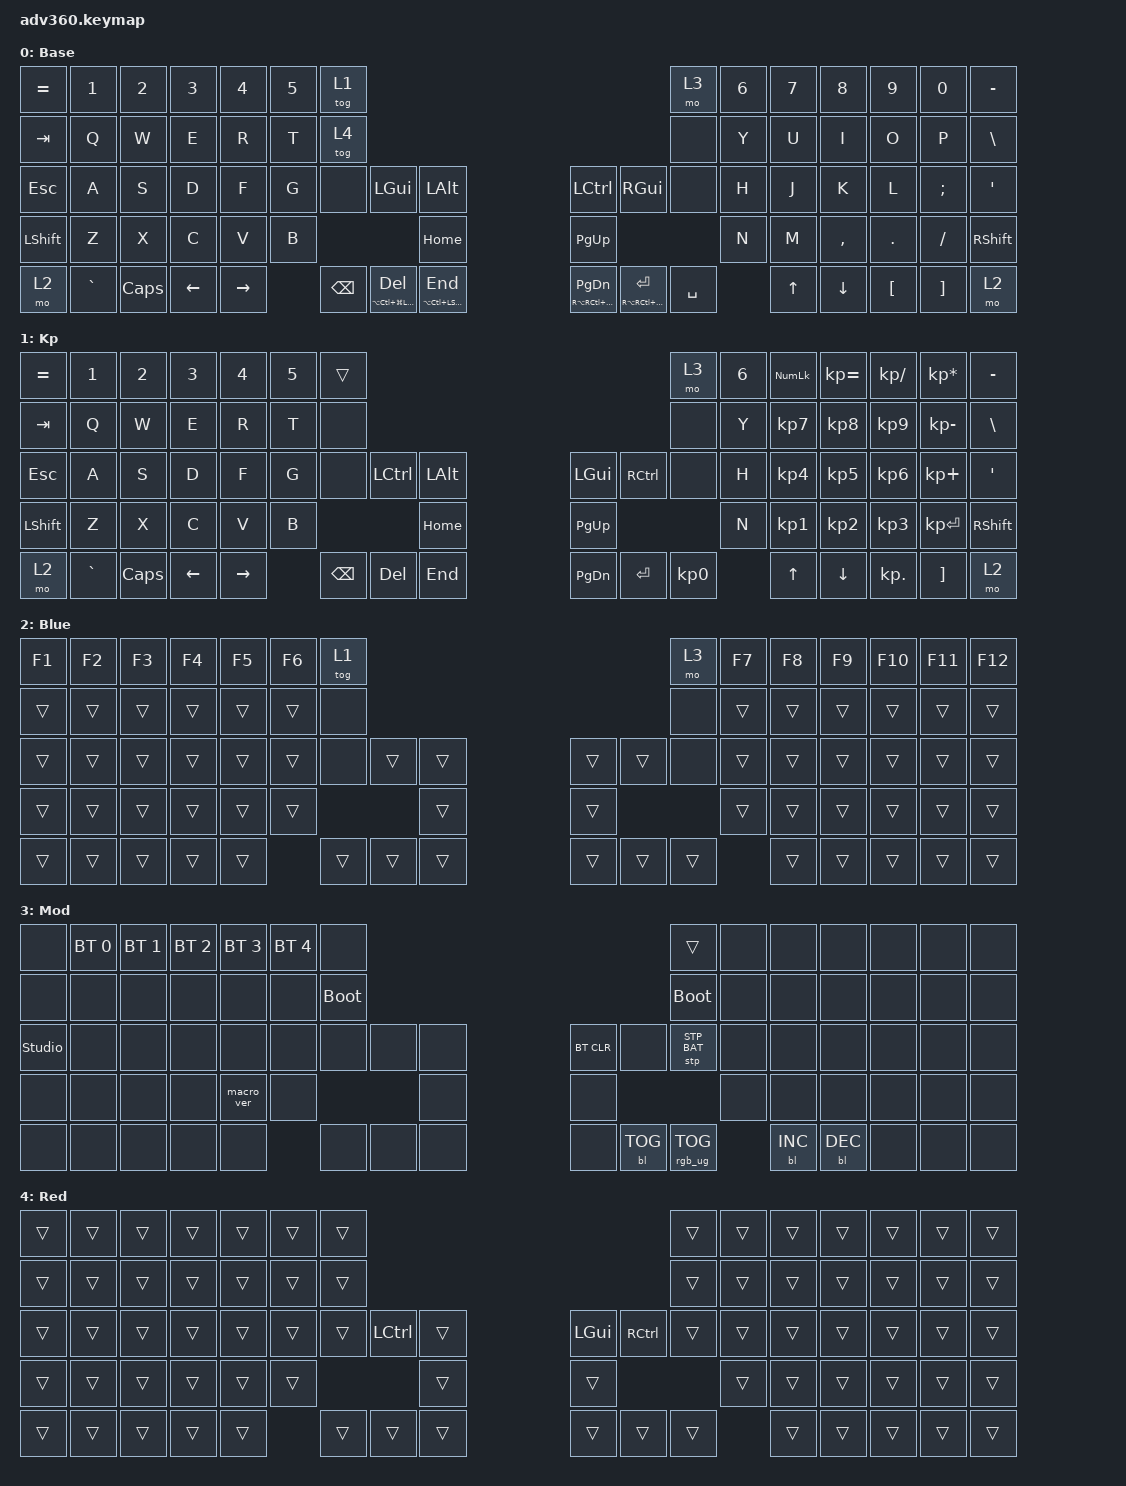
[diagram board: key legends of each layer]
#include <dt-bindings/zmk/stp.h>
#include <behaviors.dtsi>
#include <dt-bindings/zmk/backlight.h>
#include <dt-bindings/zmk/bt.h>
#include <dt-bindings/zmk/keys.h>
#include <dt-bindings/zmk/rgb.h>

/ {
    behaviors {
        #include "macros.dtsi"
      #include "version.dtsi"

        mtb: mtb {
            compatible = "zmk,behavior-hold-tap";
            label = "Mod Tab Balanced";
            bindings = <&kp>, <&kp>;

            #binding-cells = <2>;
            tapping-term-ms = <200>;
            flavor = "balanced";
        };
    };

    keymap {
        compatible = "zmk,keymap";

        Mac {
            display-name = "Base";
            bindings = <
&kp EQUAL  &kp N1     &kp N2    &kp N3    &kp N4     &kp N5  &tog 1                                                                                                                                               &mo 3      &kp N6  &kp N7  &kp N8     &kp N9    &kp N0    &kp MINUS
&kp TAB    &kp Q      &kp W     &kp E     &kp R      &kp T   &tog 4                                                                                                                                               &none      &kp Y   &kp U   &kp I      &kp O     &kp P     &kp BSLH
&kp ESC    &kp A      &kp S     &kp D     &kp F      &kp G   &none          &kp LGUI                         &kp LALT                         &kp LCTRL                       &kp RGUI                            &none      &kp H   &kp J   &kp K      &kp L     &kp SEMI  &kp SQT
&kp LSHFT  &kp Z      &kp X     &kp C     &kp V      &kp B                                                   &kp HOME                         &kp PG_UP                                                                      &kp N   &kp M   &kp COMMA  &kp DOT   &kp FSLH  &kp RSHFT
&mo 2      &kp GRAVE  &kp CAPS  &kp LEFT  &kp RIGHT          &kp BACKSPACE  &mtb LA(LC(LG(LEFT_SHIFT))) DEL  &mtb LA(LC(LEFT_SHIFT)) END      &mtb RA(RC(RIGHT_SHIFT)) PG_DN  &mtb RA(RC(RG(RIGHT_SHIFT))) ENTER  &kp SPACE          &kp UP  &kp DOWN   &kp LBKT  &kp RBKT  &mo 2
            >;
        };

        keypad {
            display-name = "Kp";
            bindings = <
&kp EQUAL  &kp N1     &kp N2    &kp N3    &kp N4     &kp N5  &trans                                                   &mo 3      &kp N6  &kp KP_NUM  &kp KP_EQUAL  &kp KP_DIVIDE  &kp KP_MULTIPLY  &kp MINUS
&kp TAB    &kp Q      &kp W     &kp E     &kp R      &kp T   &none                                                    &none      &kp Y   &kp KP_N7   &kp KP_N8     &kp KP_N9      &kp KP_MINUS     &kp BSLH
&kp ESC    &kp A      &kp S     &kp D     &kp F      &kp G   &none     &kp LCTRL  &kp LALT      &kp LGUI   &kp RCTRL  &none      &kp H   &kp KP_N4   &kp KP_N5     &kp KP_N6      &kp KP_PLUS      &kp SQT
&kp LSHFT  &kp Z      &kp X     &kp C     &kp V      &kp B                        &kp HOME      &kp PG_UP                        &kp N   &kp KP_N1   &kp KP_N2     &kp KP_N3      &kp KP_ENTER     &kp RSHFT
&mo 2      &kp GRAVE  &kp CAPS  &kp LEFT  &kp RIGHT          &kp BSPC  &kp DEL    &kp END       &kp PG_DN  &kp ENTER  &kp KP_N0          &kp UP      &kp DOWN      &kp KP_DOT     &kp RBKT         &mo 2
            >;

            label = "White";
        };

        fn {
            display-name = "Blue";
            bindings = <
&kp F1  &kp F2  &kp F3  &kp F4  &kp F5  &kp F6  &tog 1                                      &mo 3   &kp F7  &kp F8  &kp F9  &kp F10  &kp F11  &kp F12
&trans  &trans  &trans  &trans  &trans  &trans  &none                                       &none   &trans  &trans  &trans  &trans   &trans   &trans
&trans  &trans  &trans  &trans  &trans  &trans  &none   &trans  &trans      &trans  &trans  &none   &trans  &trans  &trans  &trans   &trans   &trans
&trans  &trans  &trans  &trans  &trans  &trans                  &trans      &trans                  &trans  &trans  &trans  &trans   &trans   &trans
&trans  &trans  &trans  &trans  &trans          &trans  &trans  &trans      &trans  &trans  &trans          &trans  &trans  &trans   &trans   &trans
            >;

            label = "Blue";
        };

        mod {
            display-name = "Mod";
            bindings = <
&none           &bt BT_SEL 0  &bt BT_SEL 1  &bt BT_SEL 2  &bt BT_SEL 3  &bt BT_SEL 4  &none                                                  &trans           &none  &none       &none       &none  &none  &none
&none           &none         &none         &none         &none         &none         &bootloader                                            &bootloader      &none  &none       &none       &none  &none  &none
&studio_unlock  &none         &none         &none         &none         &none         &none        &none  &none      &bt BT_CLR  &none       &stp STP_BAT     &none  &none       &none       &none  &none  &none
&none           &none         &none         &none         &macro_ver    &none                             &none      &none                                    &none  &none       &none       &none  &none  &none
&none           &none         &none         &none         &none                       &none        &none  &none      &none       &bl BL_TOG  &rgb_ug RGB_TOG         &bl BL_INC  &bl BL_DEC  &none  &none  &none
            >;

            label = "Green";
        };

        Win {
            bindings = <
&trans  &trans  &trans  &trans  &trans  &trans  &trans                                              &trans  &trans  &trans  &trans  &trans  &trans  &trans
&trans  &trans  &trans  &trans  &trans  &trans  &trans                                              &trans  &trans  &trans  &trans  &trans  &trans  &trans
&trans  &trans  &trans  &trans  &trans  &trans  &trans  &kp LCTRL  &trans      &kp LGUI  &kp RCTRL  &trans  &trans  &trans  &trans  &trans  &trans  &trans
&trans  &trans  &trans  &trans  &trans  &trans                     &trans      &trans                       &trans  &trans  &trans  &trans  &trans  &trans
&trans  &trans  &trans  &trans  &trans          &trans  &trans     &trans      &trans    &trans     &trans          &trans  &trans  &trans  &trans  &trans
            >;

            label = "Red";
        };
    };
};
